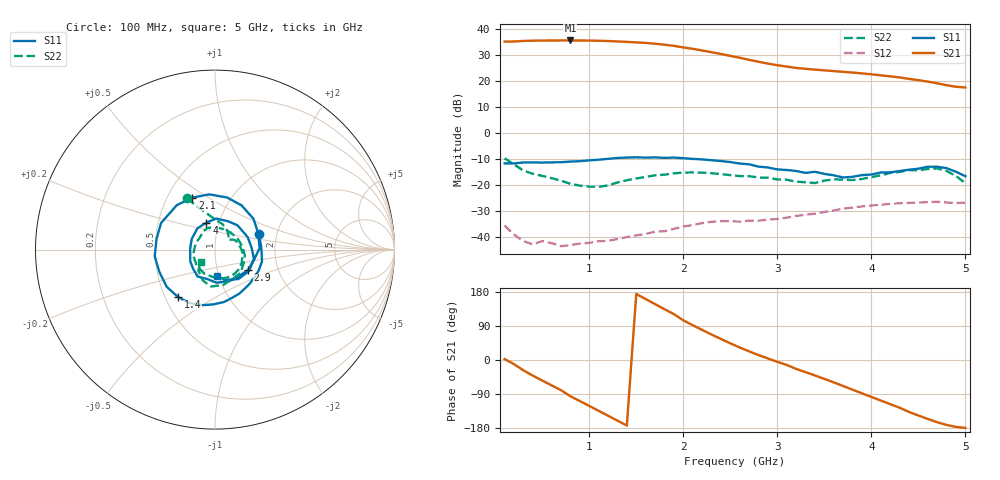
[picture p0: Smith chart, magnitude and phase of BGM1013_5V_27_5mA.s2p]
! Bias: Vs=5.00 V; Is=27.5 mA
#  MHz  S  MA  R 50
! Freq  S11  S21  S12  S22
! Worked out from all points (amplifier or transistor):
!   50 points, 100 MHz to 5 GHz, reference 50 ohm
!   highest |S21| = 35.7 dB at 800 MHz (marker M1)
!   |S21| within 3 dB of that: start of sweep to 2.06 GHz
!   unconditionally stable (mu >= 1): 184.4 MHz to 1.602 GHz; 2.484 GHz to end of sweep
!   at 900 MHz: K = 1.24, MAG = 36.2 dB, |S12| = -42.7 dB
!   at 2.6 GHz: K = 1.08, MAG = 29.9 dB, |S12| = -34.2 dB
!   at 5 GHz: K = 1.61, MAG = 17.7 dB, |S12| = -26.9 dB
!   S11 on the Smith chart (normalised r, x): 100 MHz: 1.61, +0.30; 1.4 GHz: 0.58, -0.35; 2.1 GHz: 0.67, +0.43; 2.9 GHz: 1.40, -0.34; 4 GHz: 0.87, +0.27; 5 GHz: 0.98, -0.29
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100  0.2595 19.3  57.79 2.5  0.01642 47.3  0.3247 118.6
300  0.2699 -13.9  59.48 -27.2  0.00821 3.0  0.1876 97.3
500  0.2687 -35.0  60.46 -54.3  0.00819 -12.8  0.1487 74.5
700  0.2727 -51.3  60.72 -79.7  0.00656 -13.4  0.12 53.2
800  0.2805 -61.5  60.74 -95.6  0.00687 -12.1  0.1044 43.7
1000  0.296 -80.1  60.44 -121.2  0.00759 -7.3  0.09224 37.7
1200  0.3169 -102.3  59.21 -147.1  0.00828 -11.5  0.09738 33.9
1400  0.3351 -127.7  57.01 -172.9  0.00981 -16.8  0.1226 25.6
1600  0.334 -158.1  54.46 160.8  0.0113 -25.1  0.1416 6.0
1800  0.3311 169.6  50.31 134.1  0.01272 -34.0  0.157 -14.2
2000  0.3265 130.6  44.62 104.7  0.01571 -43.0  0.1721 -39.8
2100  0.316 113.4  41.94 91.8  0.01674 -49.6  0.1732 -50.4
2300  0.2979 76.9  36.02 67.3  0.01939 -62.7  0.1675 -72.3
2400  0.2875 59.0  33.31 55.5  0.01994 -69.2  0.1606 -83.5
2600  0.2574 20.4  28.2 33.1  0.01952 -78.3  0.1473 -104.4
2900  0.2158 -32.0  21.71 4.0  0.02126 -95.5  0.1367 -138.1
3400  0.1782 -122.7  16.64 -40.8  0.02774 -117.7  0.1081 141.9
3700  0.1386 178.3  15.08 -68.6  0.03477 -139.8  0.1258 91.6
4000  0.1577 107.6  13.52 -97.5  0.03982 -160.6  0.1407 25.2
4200  0.1739 65.1  12.34 -116.5  0.04286 -176.9  0.1694 -10.7
4500  0.2044 2.9  10.43 -146.5  0.04532 159.5  0.1904 -59.6
5000  0.1463 -84.6  7.539 -179.2  0.04517 133.3  0.1073 -138.6
